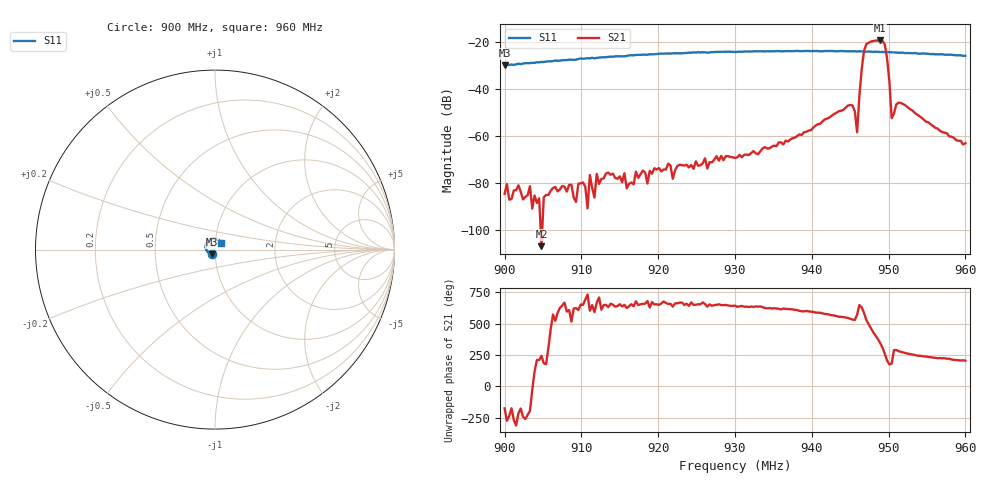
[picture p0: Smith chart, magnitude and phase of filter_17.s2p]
!File created by NanoVNA-F V2
# Hz S RI R 50
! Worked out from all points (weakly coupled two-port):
!   201 points, 900 MHz to 960 MHz, reference 50 ohm
!   highest |S21| = -19.35 dB at 948.9 MHz (marker M1); lowest = -107.0 dB at 904.8 MHz (marker M2)
!   lowest |S11| = -30.0 dB at 900 MHz (marker M3), VSWR 1.07, Z = 48.3 - j2.57 ohm
!   |S11| at or under -10 dB: start of sweep to end of sweep
!   S12 and S22 are empty: the file has one direction only
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9e8  -0.017 -0.0266  -5.8e-05 -6e-06  0 0  0 0
9.048e8  -0.0312 -0.0209  -2e-06 -4e-06  0 0  0 0
9.102e8  -0.0429 -0.00998  3.4e-05 -9.6e-05  0 0  0 0
9.168e8  -0.0514 0.0092  1.3e-05 -9.2e-05  0 0  0 0
9.18e8  -0.0526 0.0122  8.8e-05 -0.00016  0 0  0 0
9.186e8  -0.0513 0.0149  7.4e-05 -6.2e-05  0 0  0 0
9.201e8  -0.0523 0.0198  6.9e-05 -0.000195  0 0  0 0
9.213e8  -0.0516 0.0234  0.000118 -0.000226  0 0  0 0
9.219e8  -0.0515 0.0247  1.3e-05 -0.000121  0 0  0 0
9.228e8  -0.05 0.0285  0.000148 -0.000193  0 0  0 0
9.3e8  -0.0389 0.0473  8.3e-05 -0.00033  0 0  0 0
9.402e8  -0.0153 0.0625  -0.000879 -0.00122  0 0  0 0
9.45e8  0.000823 0.0634  -0.00455 7.1e-05  0 0  0 0
9.456e8  0.000164 0.0632  -0.00332 0.000631  0 0  0 0
9.459e8  0.00124 0.0627  -0.00102 -0.000634  0 0  0 0
9.468e8  0.00467 0.0626  -0.0459 -0.0465  0 0  0 0
9.489e8  0.0105 0.0602  0.1049 -0.0248  0 0  0 0
9.495e8  0.0123 0.0596  -0.0137 -0.088  0 0  0 0
9.501e8  0.0138 0.0589  -0.0146 0.00108  0 0  0 0
9.504e8  0.0149 0.0581  -0.00238 -8.3e-05  0 0  0 0
9.516e8  0.0175 0.0566  0.000484 -0.00498  0 0  0 0
9.6e8  0.0338 0.0377  -0.000632 -0.0003  0 0  0 0
